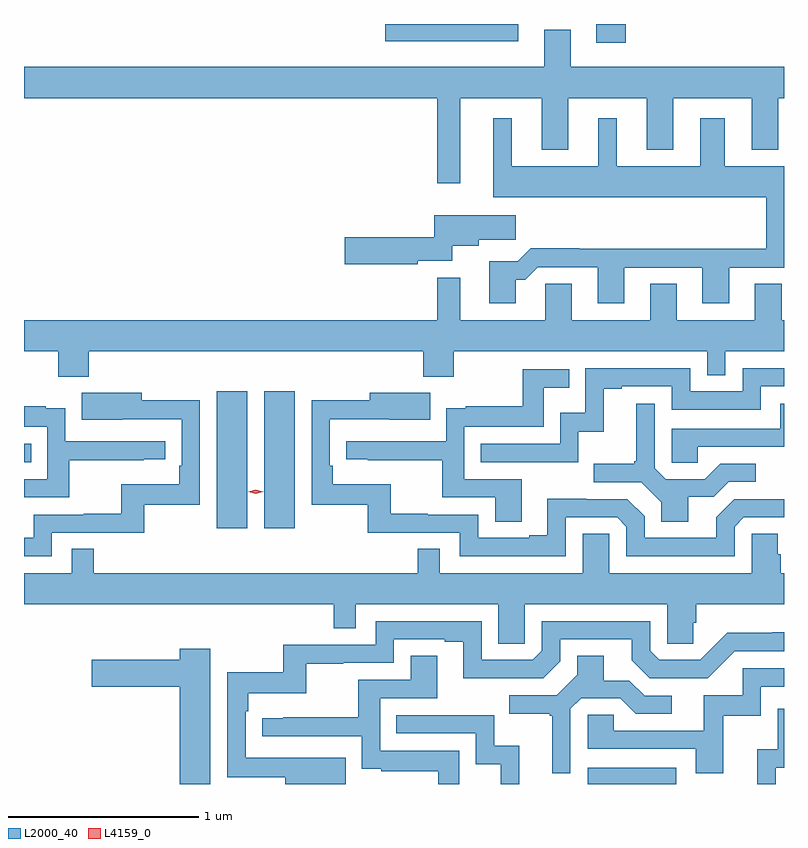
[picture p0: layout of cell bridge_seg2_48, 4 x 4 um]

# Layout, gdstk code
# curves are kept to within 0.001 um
import gdstk
lib = gdstk.Library(unit=1e-6, precision=1e-09)
def R(c, l, rs):  # rectangles x0, y0, x1, y1
    for r in rs: c.add(gdstk.rectangle(r[:2], r[2:], *l))
def P(c, l, *ps):  # polygons
    for p in ps: c.add(gdstk.Polygon(p, *l))
L2000_40 = (2000, 40)
L4159_0 = (4159, 0)

bridge_seg2_48 = lib.new_cell('bridge_seg2_48')
R(bridge_seg2_48, L2000_40, [(950.94,646.69,951.408,646.776), (948.989,648.036,949.15,648.757), (949.238,648.036,949.399,648.757), (947.974,648.384,948.011,648.48), (950.987,650.592,951.14,650.69), (949.875,650.6,950.575,650.69)])
P(bridge_seg2_48, L2000_40, [(950.269,650.3),(950.699,650.3),(950.699,650.027),(950.839,650.027),(950.839,650.3),(951.251,650.3),(951.251,650.027),(951.391,650.027),(951.391,650.3),(951.803,650.3),(951.803,650.027),(951.943,650.027),(951.943,650.3),(951.974,650.3),(951.974,650.464),(950.851,650.464),(950.851,650.659),(950.711,650.659),(950.711,650.464),(947.974,650.464),(947.974,650.3),(950.148,650.3),(950.148,649.851),(950.269,649.851)],
  [(950.563,649.343),(950.612,649.343),(950.679,649.41),(950.993,649.41),(950.993,649.221),(951.133,649.221),(951.133,649.407),(951.545,649.407),(951.545,649.221),(951.685,649.221),(951.685,649.407),(951.974,649.407),(951.974,649.942),(951.661,649.942),(951.661,650.194),(951.533,650.194),(951.533,649.942),(951.094,649.942),(951.094,650.194),(950.996,650.194),(950.996,649.942),(950.542,649.942),(950.542,650.194),(950.444,650.194),(950.444,649.778),(951.881,649.778),(951.881,649.508),(950.897,649.508),(950.897,649.511),(950.642,649.511),(950.572,649.441),(950.423,649.441),(950.423,649.221),(950.563,649.221)],
  [(950.046,649.445),(950.229,649.445),(950.229,649.523),(950.368,649.523),(950.368,649.555),(950.563,649.555),(950.563,649.684),(950.133,649.684),(950.133,649.568),(949.662,649.568),(949.662,649.426),(950.046,649.426)],
  [(948.314,648.968),(950.075,648.968),(950.075,648.833),(950.235,648.833),(950.235,648.968),(951.57,648.968),(951.57,648.841),(951.666,648.841),(951.666,648.968),(951.974,648.968),(951.974,649.132),(951.961,649.132),(951.961,649.322),(951.821,649.322),(951.821,649.132),(951.409,649.132),(951.409,649.322),(951.269,649.322),(951.269,649.132),(950.857,649.132),(950.857,649.322),(950.718,649.322),(950.718,649.132),(950.269,649.132),(950.269,649.354),(950.148,649.354),(950.148,649.132),(947.974,649.132),(947.974,648.968),(948.154,648.968),(948.154,648.833),(948.314,648.833)],
  [(950.892,648.545),(951.025,648.545),(951.025,648.771),(951.121,648.771),(951.121,648.783),(951.384,648.783),(951.384,648.66),(951.852,648.66),(951.852,648.783),(951.974,648.783),(951.974,648.879),(951.756,648.879),(951.756,648.756),(951.48,648.756),(951.48,648.879),(950.928,648.879),(950.928,648.643),(950.796,648.643),(950.796,648.48),(950.377,648.48),(950.377,648.384),(950.892,648.384)],
  [(950.593,648.294),(950.292,648.294),(950.292,648.57),(950.709,648.57),(950.709,648.776),(950.843,648.776),(950.843,648.873),(950.598,648.873),(950.598,648.679),(950.299,648.679),(950.299,648.667),(950.196,648.667),(950.196,648.495),(949.671,648.495),(949.671,648.399),(949.783,648.399),(949.783,648.394),(950.176,648.394),(950.176,648.198),(950.453,648.198),(950.453,648.07),(950.593,648.07)],
  [(950.826,648.093),(951.096,648.093),(951.144,648.045),(951.144,647.889),(951.714,647.889),(951.714,648.045),(951.762,648.093),(951.974,648.093),(951.974,648.189),(951.711,648.189),(951.617,648.095),(951.617,647.985),(951.24,647.985),(951.24,648.099),(951.15,648.189),(950.934,648.189),(950.934,648.191),(950.729,648.191),(950.729,647.998),(950.633,647.998),(950.633,647.985),(950.364,647.985),(950.364,648.108),(950.099,648.108),(950.099,648.113),(949.903,648.113),(949.903,648.268),(949.598,648.268),(949.598,648.364),(949.584,648.364),(949.584,648.609),(950.111,648.608),(950.111,648.748),(949.793,648.748),(949.793,648.71),(949.488,648.71),(949.488,648.159),(949.782,648.159),(949.782,648.012),(950.268,648.012),(950.268,647.889),(950.826,647.889)],
  [(948.12,648.012),(948.607,648.012),(948.607,648.159),(948.9,648.159),(948.9,648.71),(948.595,648.71),(948.595,648.748),(948.277,648.748),(948.277,648.608),(948.491,648.608),(948.491,648.609),(948.804,648.609),(948.804,648.364),(948.791,648.364),(948.791,648.268),(948.486,648.268),(948.486,648.113),(948.289,648.113),(948.289,648.108),(948.024,648.108),(948.024,647.985),(947.974,647.985),(947.974,647.889),(948.12,647.889)],
  [(951.521,648.465),(951.974,648.465),(951.974,648.691),(951.953,648.691),(951.953,648.561),(951.384,648.561),(951.384,648.381),(951.521,648.381)],
  [(951.469,648.202),(951.604,648.202),(951.684,648.282),(951.826,648.282),(951.826,648.375),(951.638,648.375),(951.557,648.294),(951.351,648.294),(951.294,648.351),(951.294,648.691),(951.197,648.691),(951.197,648.388),(951.186,648.388),(951.186,648.376),(950.973,648.376),(950.973,648.279),(951.222,648.279),(951.329,648.172),(951.329,648.07),(951.469,648.07)],
  [(948.212,648.394),(948.605,648.394),(948.605,648.399),(948.718,648.399),(948.718,648.495),(948.192,648.495),(948.192,648.667),(948.089,648.667),(948.089,648.679),(947.974,648.679),(947.974,648.57),(948.096,648.57),(948.096,648.294),(947.974,648.294),(947.974,648.198),(948.212,648.198)],
  [(950.047,647.927),(950.047,647.8),(948.341,647.8),(948.341,647.927),(948.225,647.927),(948.225,647.8),(947.974,647.8),(947.974,647.636),(949.603,647.636),(949.603,647.509),(949.719,647.509),(949.719,647.636),(950.471,647.636),(950.471,647.428),(950.61,647.428),(950.61,647.636),(951.36,647.636),(951.36,647.428),(951.497,647.428),(951.497,647.538),(951.512,647.538),(951.512,647.636),(951.974,647.636),(951.974,647.8),(951.956,647.8),(951.956,647.898),(951.941,647.898),(951.941,648.008),(951.804,648.008),(951.804,647.8),(951.054,647.8),(951.054,648.008),(950.915,648.008),(950.915,647.8),(950.163,647.8),(950.163,647.927)],
  [(949.667,646.828),(949.14,646.827),(949.14,647.072),(949.154,647.072),(949.154,647.168),(949.459,647.168),(949.459,647.323),(949.655,647.323),(949.655,647.328),(949.92,647.328),(949.92,647.451),(950.189,647.451),(950.189,647.439),(950.285,647.439),(950.285,647.246),(950.706,647.247),(950.796,647.337),(950.796,647.451),(951.173,647.451),(951.173,647.341),(951.267,647.247),(951.573,647.247),(951.714,647.388),(951.974,647.388),(951.974,647.488),(951.912,647.488),(951.912,647.485),(951.676,647.485),(951.534,647.343),(951.318,647.343),(951.27,647.391),(951.27,647.547),(950.7,647.547),(950.7,647.391),(950.652,647.343),(950.382,647.343),(950.382,647.547),(949.824,647.547),(949.824,647.424),(949.338,647.424),(949.338,647.278),(949.044,647.278),(949.044,646.726),(949.349,646.726),(949.349,646.69),(949.667,646.69)],
  [(948.955,647.401),(948.794,647.401),(948.794,647.343),(948.33,647.343),(948.33,647.201),(948.794,647.201),(948.794,646.69),(948.955,646.69)],
  [(950.85,647.085),(950.907,647.142),(951.113,647.142),(951.194,647.061),(951.382,647.061),(951.382,647.154),(951.24,647.154),(951.16,647.234),(951.025,647.234),(951.025,647.366),(950.885,647.366),(950.885,647.264),(950.778,647.157),(950.529,647.157),(950.529,647.06),(950.742,647.06),(950.742,647.049),(950.753,647.049),(950.753,646.746),(950.85,646.746)],
  [(950.265,646.866),(949.848,646.866),(949.848,647.142),(950.149,647.142),(950.149,647.366),(950.009,647.366),(950.009,647.238),(949.732,647.238),(949.732,647.042),(949.339,647.042),(949.339,647.037),(949.227,647.037),(949.227,646.941),(949.752,646.941),(949.752,646.769),(949.855,646.769),(949.855,646.758),(950.154,646.758),(950.154,646.69),(950.265,646.69)],
  [(951.653,647.049),(951.852,647.049),(951.852,647.202),(951.974,647.202),(951.974,647.298),(951.756,647.298),(951.756,647.157),(951.551,647.157),(951.551,646.971),(951.077,646.971),(951.077,647.055),(950.94,647.055),(950.94,646.875),(951.509,646.875),(951.509,646.746),(951.653,646.746)],
  [(951.93,646.776),(951.974,646.776),(951.974,647.086),(951.942,647.086),(951.942,646.874),(951.833,646.874),(951.833,646.69),(951.93,646.69)],
  [(950.581,646.891),(950.448,646.891),(950.448,647.052),(949.933,647.052),(949.933,646.956),(950.352,646.956),(950.352,646.793),(950.484,646.793),(950.484,646.69),(950.581,646.69)])
P(bridge_seg2_48, L4159_0, [(949.194,648.218),(949.154,648.227),(949.154,648.228),(949.154,648.228),(949.194,648.238),(949.234,648.228),(949.234,648.228),(949.234,648.227)])

lib.write_gds('bridge_seg2_48.gds')
